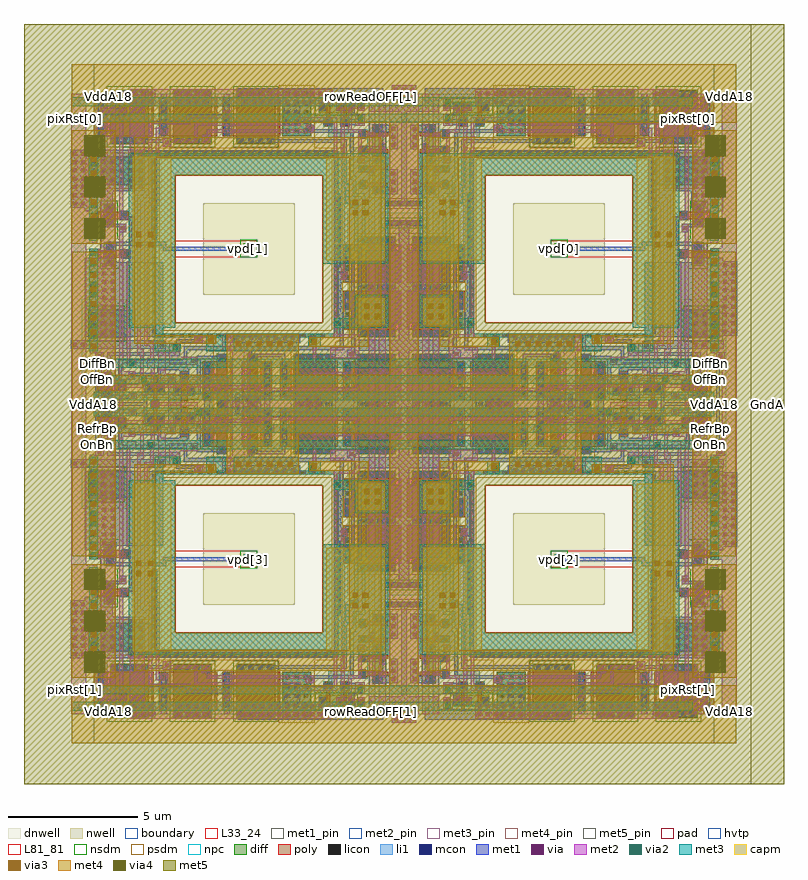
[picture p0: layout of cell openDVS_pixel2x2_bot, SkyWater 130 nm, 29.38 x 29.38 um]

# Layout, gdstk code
from math import pi, radians
import gdstk
lib = gdstk.Library(unit=1e-6, precision=1e-09)
def R(c, l, rs):  # rectangles x0, y0, x1, y1
    for r in rs: c.add(gdstk.rectangle(r[:2], r[2:], *l))
def A(c, l, x, y, w, h, nx, ny, dx, dy):  # array of equal rectangles
    R(c, l, [(x+i*dx, y+j*dy, x+i*dx+w, y+j*dy+h) for i in range(nx) for j in range(ny)])
L33_24 = (33, 24)
dnwell = (64, 18)
nwell = (64, 20)
diff = (65, 20)
poly = (66, 20)
licon = (66, 44)
li1 = (67, 20)
mcon = (67, 44)
met1_pin = (68, 16)
met1 = (68, 20)
via = (68, 44)
met2_pin = (69, 16)
met2 = (69, 20)
via2 = (69, 44)
met3_pin = (70, 16)
met3 = (70, 20)
via3 = (70, 44)
met4_pin = (71, 16)
met4 = (71, 20)
via4 = (71, 44)
met5_pin = (72, 16)
met5 = (72, 20)
pad = (76, 20)
hvtp = (78, 44)
L81_81 = (81, 81)
capm = (89, 44)
nsdm = (93, 44)
psdm = (94, 20)
npc = (95, 20)
boundary = (235, 4)

contact_30_1_1 = lib.new_cell('contact$30$1$1')
R(contact_30_1_1, met4, [(-0.59,-2.19,0.59,2.19)])
A(contact_30_1_1, via4, -0.4, -2, 0.8, 0.8, 1, 3, 0, 1.6)
R(contact_30_1_1, met5, [(-0.71,-2.31,0.71,2.31)])

contact_1 = lib.new_cell('contact$1')
R(contact_1, met1, [(-0.32,-1.12,0.32,1.12)])
A(contact_1, via, -0.235, -1.035, 0.15, 0.15, 1, 7, 0, 0.32)
A(contact_1, via, 0.085, -1.035, 0.15, 0.15, 1, 7, 0, 0.32)
R(contact_1, met2, [(-0.29,-1.12,0.29,1.12)])

contact_25_1_1 = lib.new_cell('contact$25$1$1')
R(contact_25_1_1, met1, [(-0.32,-1.44,0.32,1.44)])
A(contact_25_1_1, via, -0.235, -1.355, 0.15, 0.15, 1, 9, 0, 0.32)
A(contact_25_1_1, via, 0.085, -1.355, 0.15, 0.15, 1, 9, 0, 0.32)
R(contact_25_1_1, met2, [(-0.29,-1.44,0.29,1.44)])

contact_26_1_1 = lib.new_cell('contact$26$1$1')
R(contact_26_1_1, met1, [(-0.32,-0.155,0.32,0.16)])
R(contact_26_1_1, via, [(-0.235,-0.075,-0.085,0.075), (0.085,-0.075,0.235,0.075)])
R(contact_26_1_1, met2, [(-0.29,-0.16,0.29,0.16)])

opendvs_pixel = lib.new_cell('openDVS_pixel')
R(opendvs_pixel, L33_24, [(3.275,-9.01,5.83,-3.31), (5.83,-9.01,8.98,-6.46), (5.83,-5.86,8.975,-3.31)])
R(opendvs_pixel, dnwell, [(3.28,-9.01,8.98,-3.31)])
R(opendvs_pixel, nwell, [(0.06,-12.615,0.065,-9.905), (0.065,-12.615,2.295,-4.775), (2.295,-12.615,10.865,-9.905), (10.865,-12.615,12.585,-8.12), (4.36,-7.93,7.9,-4.39)])
A(opendvs_pixel, diff, 5.115, -2.11, 1.5, 2.1, 3, 1, 2.44, 0)
R(opendvs_pixel, diff, [(6.475,-12.545,6.645,-11.735), (0.445,-12.31,1.945,-10.21), (2.885,-12.31,4.385,-10.21), (5.775,-12.31,6.195,-10.21), (6.955,-12.31,7.375,-10.21), (11.4,-11.955,11.82,-10.935), (8.195,-11.845,9.045,-11.425), (9.375,-11.795,10.125,-11.295), (11.045,-9.62,12.33,-8.49), (2.63,-9.6,2.8,-2.38), (2.8,-9.6,9.7,-9.43), (9.7,-9.6,9.87,-2.38), (0.445,-9.58,1.945,-5.68), (11.245,-6.81,11.745,-5.91), (5.93,-6.355,6.34,-5.945), (11.325,-5.32,11.745,-4.42), (0.065,-5.25,0.875,-5.08), (0.065,-4.495,0.875,-4.325), (0.935,-4.055,1.355,-1.355), (9.87,-3.71,10.58,-2.38), (10.58,-3.71,12.335,-2.58), (2.8,-2.55,9.7,-2.38), (3.71,-1.805,4.84,0.045), (2.035,-0.895,3.435,-0.475)])
A(opendvs_pixel, poly, 0.735, -3.755, 0.82, 0.15, 1, 4, 0, 0.65)
R(opendvs_pixel, poly, [(9.615,-12.325,9.675,-11.995), (9.675,-12.325,9.825,-11.095), (9.825,-12.325,9.885,-11.995), (8.495,-12.045,8.745,-10.895), (0.245,-12.01,2.475,-10.51), (2.685,-12.01,4.915,-10.51), (5.245,-12.01,6.395,-10.51), (6.755,-12.01,7.905,-10.51), (10.865,-11.655,12.015,-11.235), (8.485,-11.225,8.495,-10.895), (8.745,-11.225,8.755,-10.895), (0.245,-9.28,2.475,-7.78), (0.245,-7.48,2.475,-5.98), (10.715,-6.51,11.945,-6.21), (10.795,-5.02,11.945,-4.72), (1.555,-3.815,1.885,-3.545), (1.555,-3.225,1.885,-2.955), (1.555,-2.455,1.885,-2.185), (1.555,-1.865,1.885,-1.595), (4.915,-1.81,7.145,-0.31), (7.355,-1.81,9.585,-0.31), (9.795,-1.81,11.695,-0.31), (11.695,-1.81,12.13,-0.16), (2.275,-1.425,2.335,-1.095), (2.335,-1.425,2.485,-0.275), (2.485,-1.425,2.545,-1.095), (2.925,-1.425,2.985,-1.095), (2.985,-1.425,3.135,-0.275), (3.135,-1.425,3.195,-1.095)])
A(opendvs_pixel, licon, 0.57, -12.245, 0.17, 0.17, 4, 2, 0.36, 1.8)
A(opendvs_pixel, licon, 3.01, -12.245, 0.17, 0.17, 4, 2, 0.36, 1.8)
A(opendvs_pixel, licon, 2.225, -11.885, 0.17, 0.17, 1, 4, 0, 0.36)
A(opendvs_pixel, licon, 4.665, -11.885, 0.17, 0.17, 1, 4, 0, 0.36)
A(opendvs_pixel, licon, 5.325, -11.885, 0.17, 0.17, 1, 4, 0, 0.36)
A(opendvs_pixel, licon, 7.655, -11.885, 0.17, 0.17, 1, 4, 0, 0.36)
A(opendvs_pixel, licon, 7.915, -9.6, 0.17, 0.17, 4, 1, 0.36, 0)
A(opendvs_pixel, licon, 0.57, -9.515, 0.17, 0.17, 4, 3, 0.36, 1.8)
A(opendvs_pixel, licon, 11.325, -9.5, 0.17, 0.17, 3, 3, 0.36, 0.36)
A(opendvs_pixel, licon, 2.225, -9.155, 0.17, 0.17, 1, 4, 0, 0.36)
A(opendvs_pixel, licon, 2.225, -7.355, 0.17, 0.17, 1, 4, 0, 0.36)
A(opendvs_pixel, licon, 9.7, -4.72, 0.17, 0.17, 1, 4, 0, 0.36)
A(opendvs_pixel, licon, 2.63, -4.44, 0.17, 0.17, 1, 4, 0, 0.36)
A(opendvs_pixel, licon, 1.06, -3.99, 0.17, 0.17, 1, 3, 0, 1.2)
A(opendvs_pixel, licon, 10.245, -3.59, 0.17, 0.17, 6, 3, 0.36, 0.36)
A(opendvs_pixel, licon, 3.075, -2.55, 0.17, 0.17, 19, 1, 0.36, 0)
A(opendvs_pixel, licon, 5.24, -2.045, 0.17, 0.17, 4, 2, 0.36, 1.8)
A(opendvs_pixel, licon, 7.68, -2.045, 0.17, 0.17, 4, 2, 0.36, 1.8)
A(opendvs_pixel, licon, 10.12, -2.045, 0.17, 0.17, 4, 2, 0.36, 1.8)
A(opendvs_pixel, licon, 3.83, -1.685, 0.17, 0.17, 3, 5, 0.36, 0.36)
A(opendvs_pixel, licon, 6.895, -1.685, 0.17, 0.17, 3, 4, 2.44, 0.36)
R(opendvs_pixel, licon, [(6.475,-12.425,6.645,-12.255), (5.9,-12.245,6.07,-12.075), (7.08,-12.245,7.25,-12.075), (9.665,-12.245,9.835,-12.075), (6.475,-12.065,6.645,-11.895), (11.52,-11.89,11.69,-11.72), (8.26,-11.72,8.43,-11.55), (8.81,-11.72,8.98,-11.55), (9.44,-11.63,9.61,-11.46), (9.89,-11.63,10.06,-11.46), (10.945,-11.52,11.115,-11.35), (11.52,-11.17,11.69,-11), (8.535,-11.145,8.705,-10.975), (5.9,-10.445,6.07,-10.275), (7.08,-10.445,7.25,-10.275), (3.2,-9.6,3.37,-9.43), (3.565,-9.6,3.735,-9.43), (3.925,-9.6,4.095,-9.43), (4.29,-9.6,4.46,-9.43), (4.65,-9.6,4.82,-9.43), (5.015,-9.6,5.185,-9.43), (5.375,-9.6,5.545,-9.43), (5.74,-9.6,5.91,-9.43), (6.1,-9.6,6.27,-9.43), (6.465,-9.6,6.635,-9.43), (6.825,-9.6,6.995,-9.43), (7.19,-9.6,7.36,-9.43), (7.55,-9.6,7.72,-9.43), (9.36,-9.6,9.53,-9.43), (9.7,-9.435,9.87,-9.265), (2.63,-9.155,2.8,-8.985), (9.7,-9.07,9.87,-8.9), (2.63,-8.79,2.8,-8.62), (9.7,-8.71,9.87,-8.54), (2.63,-8.43,2.8,-8.26), (9.7,-8.345,9.87,-8.175), (2.63,-8.065,2.8,-7.895), (9.7,-7.985,9.87,-7.815), (2.63,-7.705,2.8,-7.535), (9.7,-7.62,9.87,-7.45), (2.63,-7.34,2.8,-7.17), (9.7,-7.26,9.87,-7.09), (2.63,-6.98,2.8,-6.81), (9.7,-6.895,9.87,-6.725), (11.41,-6.745,11.58,-6.575), (2.63,-6.615,2.8,-6.445), (9.7,-6.535,9.87,-6.365), (10.795,-6.445,10.965,-6.275), (2.63,-6.255,2.8,-6.085), (6.05,-6.245,6.22,-6.075), (9.7,-6.17,9.87,-6), (11.41,-6.145,11.58,-5.975), (2.63,-5.89,2.8,-5.72), (9.7,-5.81,9.87,-5.64), (2.63,-5.53,2.8,-5.36), (9.7,-5.445,9.87,-5.275), (11.45,-5.255,11.62,-5.085), (0.225,-5.25,0.395,-5.08), (0.585,-5.25,0.755,-5.08), (2.63,-5.165,2.8,-4.995), (9.7,-5.085,9.87,-4.915), (10.875,-4.955,11.045,-4.785), (2.63,-4.805,2.8,-4.635), (11.45,-4.655,11.62,-4.485), (0.225,-4.495,0.395,-4.325), (0.585,-4.495,0.755,-4.325), (1.635,-3.765,1.805,-3.595), (9.7,-3.275,9.87,-3.105), (1.635,-3.175,1.805,-3.005), (2.63,-2.995,2.8,-2.825), (9.7,-2.915,9.87,-2.745), (1.635,-2.405,1.805,-2.235), (1.635,-1.815,1.805,-1.645), (2.325,-1.345,2.495,-1.175), (2.975,-1.345,3.145,-1.175), (2.1,-0.77,2.27,-0.6), (3.2,-0.77,3.37,-0.6)])
A(opendvs_pixel, li1, 0.49, -9.515, 1.41, 0.17, 1, 3, 0, 1.8)
A(opendvs_pixel, li1, 0.98, -3.99, 0.33, 0.17, 1, 3, 0, 1.2)
A(opendvs_pixel, li1, 5.16, -2.045, 1.41, 0.17, 3, 2, 2.44, 1.8)
A(opendvs_pixel, li1, 6.895, -1.765, 0.17, 1.41, 3, 1, 2.44, 0)
R(opendvs_pixel, li1, [(6.475,-12.565,6.645,-11.755), (0.49,-12.245,1.9,-12.075), (2.93,-12.245,4.34,-12.075), (5.82,-12.245,6.15,-12.075), (7,-12.245,7.33,-12.075), (9.585,-12.245,9.915,-12.075), (2.225,-11.965,2.395,-10.555), (4.665,-11.965,4.835,-10.555), (5.325,-11.965,5.495,-10.555), (7.655,-11.965,7.825,-10.555), (11.44,-11.89,11.77,-11.72), (8.26,-11.8,8.43,-11.47), (8.81,-11.8,8.98,-11.47), (9.44,-11.71,9.61,-11.38), (9.89,-11.71,10.06,-11.38), (10.945,-11.6,11.115,-11.27), (11.44,-11.17,11.77,-11), (8.455,-11.145,8.785,-10.975), (0.49,-10.445,1.9,-10.275), (2.93,-10.445,4.34,-10.275), (5.82,-10.445,6.15,-10.275), (7,-10.445,7.33,-10.275), (2.63,-9.6,2.8,-2.38), (2.8,-9.6,9.7,-9.43), (9.7,-9.6,9.87,-2.38), (10.52,-9.58,12.29,-8.53), (2.225,-9.235,2.395,-7.825), (2.225,-7.435,2.395,-6.025), (11.33,-6.745,11.66,-6.575), (10.795,-6.525,10.965,-6.195), (5.97,-6.325,6.3,-5.995), (11.33,-6.145,11.66,-5.975), (11.37,-5.255,11.7,-5.085), (0.065,-5.25,0.875,-5.08), (10.875,-5.035,11.045,-4.705), (11.37,-4.655,11.7,-4.485), (1.885,-4.595,2.055,-3.675), (2.055,-4.595,2.215,-4.265), (0.065,-4.495,0.875,-4.325), (1.635,-3.845,1.805,-3.515), (1.805,-3.845,1.885,-3.675), (9.87,-3.67,10.58,-2.38), (10.58,-3.67,12.295,-2.62), (1.555,-3.175,1.885,-3.005), (2.8,-2.55,9.7,-2.38), (1.805,-2.41,1.885,-2.235), (1.885,-2.41,2.085,-2.24), (2.085,-2.41,2.255,-1.675), (1.555,-2.405,1.805,-2.235), (1.635,-1.895,1.805,-1.565), (2.255,-1.845,2.895,-1.675), (2.895,-1.845,3.065,-1.175), (3.75,-1.765,4.8,0.005), (4.8,-1.405,4.805,0.005), (2.245,-1.345,2.575,-1.175), (3.065,-1.345,3.225,-1.175), (2.1,-0.85,2.27,-0.52), (3.2,-0.85,3.37,-0.52)])
A(opendvs_pixel, mcon, 3.295, -12.245, 0.17, 0.17, 3, 2, 0.36, 1.8)
A(opendvs_pixel, mcon, 5.325, -11.885, 0.17, 0.17, 1, 4, 0, 0.36)
A(opendvs_pixel, mcon, 7.655, -11.885, 0.17, 0.17, 1, 4, 0, 0.36)
A(opendvs_pixel, mcon, 0.735, -10.445, 0.17, 0.17, 3, 2, 0.36, 0.93)
A(opendvs_pixel, mcon, 11.325, -9.5, 0.17, 0.17, 3, 3, 0.36, 0.36)
A(opendvs_pixel, mcon, 0.635, -7.715, 0.17, 0.17, 3, 2, 0.36, 1.8)
A(opendvs_pixel, mcon, 2.63, -5.805, 0.17, 0.17, 1, 3, 0, 0.36)
A(opendvs_pixel, mcon, 9.7, -4.72, 0.17, 0.17, 1, 4, 0, 0.36)
A(opendvs_pixel, mcon, 1.06, -3.99, 0.17, 0.17, 1, 3, 0, 1.2)
A(opendvs_pixel, mcon, 10.245, -3.59, 0.17, 0.17, 6, 3, 0.36, 0.36)
A(opendvs_pixel, mcon, 3.075, -2.55, 0.17, 0.17, 19, 1, 0.36, 0)
A(opendvs_pixel, mcon, 5.24, -2.045, 0.17, 0.17, 4, 2, 0.36, 1.8)
A(opendvs_pixel, mcon, 7.68, -2.045, 0.17, 0.17, 4, 2, 0.36, 1.8)
A(opendvs_pixel, mcon, 10.12, -2.045, 0.17, 0.17, 4, 2, 0.36, 1.8)
A(opendvs_pixel, mcon, 6.895, -1.685, 0.17, 0.17, 3, 4, 2.44, 0.36)
A(opendvs_pixel, mcon, 4.195, -1.325, 0.17, 0.17, 1, 4, 0, 0.36)
A(opendvs_pixel, mcon, 4.555, -1.325, 0.17, 0.17, 1, 4, 0, 0.36)
R(opendvs_pixel, mcon, [(6.475,-12.425,6.645,-12.255), (1.095,-12.245,1.265,-12.075), (1.455,-12.245,1.625,-12.075), (5.9,-12.245,6.07,-12.075), (7.08,-12.245,7.25,-12.075), (9.665,-12.245,9.835,-12.075), (6.475,-12.065,6.645,-11.895), (11.52,-11.89,11.69,-11.72), (8.26,-11.72,8.43,-11.55), (8.81,-11.72,8.98,-11.55), (9.44,-11.63,9.61,-11.46), (9.89,-11.63,10.06,-11.46), (10.945,-11.52,11.115,-11.35), (11.52,-11.17,11.69,-11), (2.225,-11.165,2.395,-10.995), (4.665,-11.165,4.835,-10.995), (8.535,-11.145,8.705,-10.975), (2.225,-10.805,2.395,-10.635), (4.665,-10.805,4.835,-10.635), (5.9,-10.445,6.07,-10.275), (7.08,-10.445,7.25,-10.275), (2.225,-8.435,2.395,-8.265), (2.225,-8.075,2.395,-7.905), (11.41,-6.745,11.58,-6.575), (2.225,-6.635,2.395,-6.465), (2.63,-6.53,2.8,-6.36), (10.795,-6.445,10.965,-6.275), (2.225,-6.275,2.395,-6.105), (6.05,-6.245,6.22,-6.075), (2.63,-6.17,2.8,-6), (11.41,-6.145,11.58,-5.975), (9.7,-5.445,9.87,-5.275), (11.45,-5.255,11.62,-5.085), (0.225,-5.25,0.395,-5.08), (0.585,-5.25,0.755,-5.08), (9.7,-5.085,9.87,-4.915), (10.875,-4.955,11.045,-4.785), (2.63,-4.72,2.8,-4.55), (11.45,-4.655,11.62,-4.485), (1.965,-4.515,2.135,-4.345), (0.225,-4.495,0.395,-4.325), (0.585,-4.495,0.755,-4.325), (2.63,-4.36,2.8,-4.19), (1.635,-3.765,1.805,-3.595), (9.7,-3.275,9.87,-3.105), (1.635,-3.175,1.805,-3.005), (9.7,-2.915,9.87,-2.745), (1.635,-2.405,1.805,-2.235), (1.635,-1.815,1.805,-1.645), (2.325,-1.345,2.495,-1.175), (2.975,-1.345,3.145,-1.175), (2.1,-0.77,2.27,-0.6), (3.2,-0.77,3.37,-0.6)])
A(opendvs_pixel, met1, 6.865, -1.745, 0.23, 1.585, 3, 1, 2.44, 0)
R(opendvs_pixel, met1, [(6.445,-12.53,6.675,-11.79), (3.35,-12.48,3.99,-10.245), (5.665,-12.48,6.445,-11.84), (9.635,-12.345,9.865,-11.975), (6.675,-12.305,7.31,-12.015), (-0.08,-12.275,0.34,-5.05), (0.34,-12.275,1.915,-10.76), (1.915,-12.275,2.795,-11.505), (2.795,-12.275,3.35,-10.245), (3.99,-12.275,4.33,-10.245), (10.05,-12.23,10.19,-11.4), (10.19,-12.23,12.245,-12.09), (5.295,-12.16,5.525,-10.575), (7.625,-12.16,7.855,-10.575), (8.75,-12.16,8.945,-11.49), (8.945,-12.16,9.24,-11), (10.455,-11.95,10.775,-11.69), (10.775,-11.95,11.46,-11.81), (11.46,-11.95,11.75,-11.66), (7.995,-11.78,8.135,-10.295), (8.135,-11.78,8.49,-11.49), (7.195,-11.76,7.455,-11.44), (9.38,-11.69,9.53,-11.4), (9.53,-11.69,9.67,-10.72), (9.83,-11.69,10.05,-11.4), (5.665,-11.67,5.925,-11.35), (11.035,-11.63,11.175,-10.44), (10.915,-11.62,11.035,-11.25), (5.925,-11.58,7.195,-11.44), (9.24,-11.26,9.265,-11), (11.46,-11.23,11.6,-10.16), (11.6,-11.23,11.75,-10.94), (2.195,-11.225,2.425,-10.575), (2.425,-11.225,2.515,-10.905), (4.635,-11.225,4.725,-10.575), (4.725,-11.225,4.865,-10.215), (10.515,-11.215,10.775,-10.895), (8.435,-11.175,8.51,-10.79), (8.51,-11.175,8.805,-10.72), (9.67,-11.095,10.515,-10.955), (8.805,-10.86,9.53,-10.72), (8.135,-10.645,8.37,-10.325), (8.51,-10.58,8.65,-9.935), (8.65,-10.58,11.035,-10.44), (5.84,-10.505,5.99,-10.215), (5.99,-10.505,6.13,-9.935), (7.02,-10.505,7.31,-10.215), (0.48,-10.48,1.875,-10.245), (7.31,-10.435,7.995,-10.295), (1.875,-10.385,2.005,-10.245), (2.005,-10.385,2.035,-10.065), (2.035,-10.385,2.175,-6.555), (2.175,-10.385,2.325,-10.065), (4.865,-10.355,5.84,-10.215), (8.79,-10.3,8.93,-9.655), (8.93,-10.3,11.46,-10.16), (0.34,-10.105,1.865,-9.685), (2.465,-10.075,2.565,-8.635), (2.565,-10.075,2.605,-7.04), (2.605,-10.075,5.99,-9.935), (6.13,-10.075,8.51,-9.935), (9.34,-10.02,9.39,-9.76), (9.39,-10.02,12.485,-9.705), (4.135,-9.795,7.15,-9.465), (7.905,-9.795,8.225,-9.535), (8.225,-9.795,8.79,-9.655), (9.44,-9.565,11.35,-6.685), (11.35,-9.565,12.48,-6.515), (0.48,-9.545,1.755,-9.315), (1.755,-9.545,1.895,-6.1), (0.34,-9.035,1.615,-6.22), (2.605,-8.79,2.705,-7.04), (2.175,-8.495,2.425,-7.845), (2.315,-7.365,2.565,-7.04), (2.6,-6.865,2.69,-4.03), (2.69,-6.865,2.83,-2.35), (2.175,-6.695,2.195,-6.555), (2.195,-6.695,2.425,-6.045), (10.765,-6.545,10.995,-6.175), (10.995,-6.495,11.13,-6.175), (5.99,-6.305,6.28,-6.015), (1.895,-6.24,1.905,-6.1), (1.905,-6.24,2.045,-4.285), (6.28,-6.23,9.32,-6.09), (9.32,-6.23,9.46,-5.895), (11.35,-6.205,11.64,-5.895), (9.46,-6.035,10.53,-5.895), (10.53,-6.035,10.67,-4.915), (10.67,-6.035,11.35,-5.895), (0.48,-5.945,1.625,-5.715), (1.625,-5.945,1.765,-4.005), (9.67,-5.755,9.9,-2.35), (10.87,-5.515,11.13,-5.195), (11.13,-5.335,11.39,-5.195), (11.39,-5.335,11.68,-5.025), (0.34,-5.28,0.855,-5.05), (10.67,-5.055,10.845,-4.915), (10.845,-5.055,11.075,-4.685), (11.39,-4.715,12.48,-2.33), (2.045,-4.575,2.195,-4.285), (0.02,-4.525,0.24,-0.62), (0.24,-4.525,0.84,-4.295), (2.195,-4.425,2.255,-4.285), (2.255,-4.425,2.35,-3.625), (2.35,-4.425,2.395,-1.93), (1.765,-4.145,1.975,-4.005), (1.975,-4.145,2.07,-3.345), (2.07,-4.145,2.115,-1.54), (0.38,-4.05,0.7,-3.09), (0.7,-4.05,1.29,-3.76), (10.15,-3.93,11.39,-2.33), (1.605,-3.865,1.835,-3.495), (2.395,-3.765,2.49,-1.93), (2.115,-3.485,2.21,-1.54), (1.24,-3.31,1.5,-2.99), (1.5,-3.205,1.905,-2.975), (1,-2.85,1.29,-2.56), (1.605,-2.835,1.93,-2.575), (1.29,-2.775,1.605,-2.635), (2.83,-2.58,9.67,-2.35), (9.9,-2.58,10.15,-2.35), (1.535,-2.435,1.605,-2.195), (1.605,-2.435,1.905,-2.205), (0.84,-2.42,1.1,-2.1), (1.1,-2.42,1.535,-2.195), (0.38,-2.32,0.7,-1.36), (9.13,-2.21,9.45,-1.89), (5.18,-2.075,6.55,-1.845), (7.62,-2.075,7.94,-1.755), (7.94,-2.075,8.99,-1.845), (10.06,-2.075,11.43,-1.845), (2.49,-2.07,5.18,-1.93), (9.45,-2.06,10.06,-1.92), (1.605,-1.915,1.835,-1.54), (1.835,-1.68,2.07,-1.54), (2.21,-1.68,3.6,-1.54), (3.6,-1.68,3.92,-1.36), (0.7,-1.65,1.29,-1.36), (1.64,-1.4,1.965,-1.13), (4.135,-1.385,4.785,0.045), (1.965,-1.375,2.595,-1.145), (2.875,-1.375,3.245,-1.145), (2.04,-0.985,2.29,-0.54), (0.24,-0.855,0.94,-0.62), (0.94,-0.855,1.48,0.045), (2.29,-0.83,2.75,-0.54), (3.14,-0.83,3.43,0.045), (1.64,-0.825,1.9,-0.505), (2.89,-0.64,3.14,0.045), (3.43,-0.64,4.135,0.045), (4.785,-0.64,6.41,0.045), (7.67,-0.64,8.95,0), (9.74,-0.64,10.7,0), (-0.35,-0.48,0.61,0.16), (1.48,-0.365,2.89,0.045), (6.41,-0.275,6.55,0.045), (7.62,-0.275,7.67,-0.045), (8.95,-0.275,8.99,-0.045), (10.7,-0.275,11.43,-0.045)])
A(opendvs_pixel, via, 4.355, -9.67, 0.15, 0.15, 9, 1, 0.32, 0)
A(opendvs_pixel, via, 0.465, -3.965, 0.15, 0.15, 1, 3, 0, 0.32)
A(opendvs_pixel, via, 10.235, -3.845, 0.15, 0.15, 1, 5, 0, 0.32)
A(opendvs_pixel, via, 10.555, -3.845, 0.15, 0.15, 1, 5, 0, 0.32)
A(opendvs_pixel, via, 0.465, -2.235, 0.15, 0.15, 1, 3, 0, 0.32)
A(opendvs_pixel, via, 2.975, -0.555, 0.15, 0.15, 11, 2, 0.32, 0.32)
A(opendvs_pixel, via, 7.755, -0.555, 0.15, 0.15, 4, 2, 0.32, 0.32)
A(opendvs_pixel, via, 9.825, -0.555, 0.15, 0.15, 3, 2, 0.32, 0.32)
A(opendvs_pixel, via, -0.265, -0.395, 0.15, 0.15, 3, 2, 0.32, 0.32)
R(opendvs_pixel, via, [(3.435,-12.395,3.585,-12.245), (3.755,-12.395,3.905,-12.245), (5.75,-12.395,5.9,-12.245), (6.07,-12.395,6.22,-12.245), (3.435,-12.075,3.585,-11.925), (3.755,-12.075,3.905,-11.925), (5.75,-12.075,5.9,-11.925), (6.07,-12.075,6.22,-11.925), (10.54,-11.895,10.69,-11.745), (7.25,-11.675,7.4,-11.525), (5.72,-11.585,5.87,-11.435), (9.03,-11.205,9.18,-11.055), (2.28,-11.14,2.43,-10.99), (10.57,-11.13,10.72,-10.98), (8.165,-10.56,8.315,-10.41), (2.09,-10.3,2.24,-10.15), (9.425,-9.965,9.575,-9.815), (7.99,-9.74,8.14,-9.59), (2.37,-7.28,2.52,-7.13), (10.925,-6.41,11.075,-6.26), (10.925,-5.43,11.075,-5.28), (1.295,-3.225,1.445,-3.075), (1.695,-2.78,1.845,-2.63), (0.895,-2.335,1.045,-2.185), (9.215,-2.125,9.365,-1.975), (7.705,-1.99,7.855,-1.84), (3.685,-1.595,3.835,-1.445), (1.725,-1.335,1.875,-1.185), (2.515,-0.745,2.665,-0.595), (1.695,-0.74,1.845,-0.59)])
R(opendvs_pixel, met2, [(3.35,-12.48,6.065,-11.84), (6.065,-12.48,6.775,-9.465), (-0.44,-12.16,-0.35,-0.16), (-0.35,-12.16,0.61,0.16), (0.61,-12.16,0.7,-0.16), (0.84,-12.16,1.1,-0.16), (1.24,-12.16,1.5,-0.16), (6.915,-12.16,7.055,-11.1), (10.99,-12.16,11.13,-11.4), (11.27,-12.16,11.85,-0.16), (12.41,-12.16,12.99,-0.16), (10.455,-11.95,10.775,-11.69), (8.385,-11.83,8.525,-11.38), (8.525,-11.83,10.455,-11.69), (7.195,-11.76,7.455,-11.38), (1.865,-11.67,2.005,-9.465), (2.005,-11.67,5.665,-11.53), (5.665,-11.67,5.925,-11.35), (8.665,-11.54,8.805,-11.1), (8.805,-11.54,9.775,-11.4), (9.775,-11.54,9.8,-10.4), (9.8,-11.54,9.915,-9.76), (10.195,-11.54,10.31,-10.045), (10.31,-11.54,10.335,-4.07), (10.335,-11.54,10.375,-11.03), (10.375,-11.54,10.99,-11.4), (7.455,-11.52,8.385,-11.38), (10.095,-11.4,10.195,-11.03), (8.945,-11.26,9.34,-11), (9.34,-11.26,9.635,-9.76), (7.055,-11.24,8.665,-11.1), (2.195,-11.225,2.515,-10.905), (10.515,-11.215,10.99,-10.895), (10.99,-11.215,11.13,-5.195), (2.515,-11.045,3.52,-10.905), (3.52,-11.045,3.66,-9.515), (9.915,-10.77,9.94,-9.76), (9.94,-10.77,10.055,-10.4), (10.475,-10.725,10.71,-10.44), (10.71,-10.725,10.73,-4.91), (10.73,-10.725,10.85,-6.635), (8.11,-10.645,8.775,-10.325), (8.775,-10.645,9.2,-9.79), (2.005,-10.385,2.99,-9.96), (10.335,-10.23,10.45,-4.07), (11.99,-10.19,12.27,-6.15), (4.195,-10.12,6.065,-9.465), (6.775,-10.12,7.15,-9.465), (9.635,-10.02,9.66,-9.76), (9.94,-9.9,10.03,-9.76), (10.03,-9.9,10.17,-4.35), (3.66,-9.885,3.8,-9.515), (7.41,-9.805,8.24,-9.525), (2.005,-9.605,2.715,-9.465), (2.715,-9.605,2.855,-1.08), (2.485,-9.22,2.715,-8.85), (2.315,-7.365,2.43,-7.04), (2.43,-7.365,2.57,-0.54), (2.57,-7.365,2.575,-7.04), (10.59,-6.775,10.71,-4.91), (10.87,-6.495,10.99,-6.175), (11.99,-5.94,12.27,-1.86), (10.87,-5.515,10.99,-5.195), (10.73,-5.05,10.99,-4.91), (10.99,-5.05,11.13,-0.16), (9.59,-4.49,9.73,-1.49), (9.73,-4.49,10.03,-4.35), (9.87,-4.21,10.01,-1.21), (10.01,-4.21,10.31,-4.07), (10.15,-3.93,10.73,0), (10.73,-3.93,10.79,-2.33), (1.64,-2.865,1.76,-2.54), (1.76,-2.865,1.9,-1.54), (9.13,-2.21,9.45,-1.89), (7.62,-2.075,7.76,-1.54), (7.76,-2.075,7.94,-1.755), (8.095,-2.06,8.235,-1.26), (8.235,-2.06,9.13,-1.92), (1.9,-1.68,2.15,-1.54), (2.15,-1.68,2.29,-0.615), (3.6,-1.68,3.92,-1.36), (3.92,-1.68,7.62,-1.54), (9.305,-1.63,9.59,-1.49), (1.64,-1.4,2.01,-0.965), (4.13,-1.4,4.27,-1.08), (4.27,-1.4,8.095,-1.26), (8.4,-1.35,8.54,-0.98), (8.54,-1.35,9.87,-1.21), (2.855,-1.22,4.13,-1.08), (6.96,-1.12,8.4,-0.98), (1.64,-0.825,1.925,-0.335), (2.57,-0.81,2.75,-0.54), (1.925,-0.755,2.01,-0.335), (2.01,-0.755,2.15,-0.615), (2.89,-0.64,10.15,0)])
A(opendvs_pixel, via2, 12.03, -10.035, 0.2, 0.2, 1, 10, 0, 0.4)
A(opendvs_pixel, via2, 4.43, -9.925, 0.2, 0.2, 6, 1, 0.4, 0)
A(opendvs_pixel, via2, 12.03, -5.765, 0.2, 0.2, 1, 10, 0, 0.4)
R(opendvs_pixel, via2, [(8.86,-10.055,9.06,-9.855), (3.56,-9.8,3.76,-9.6), (7.495,-9.765,7.695,-9.565), (2.57,-9.135,2.77,-8.935), (1.725,-1.205,1.925,-1.005), (1.725,-0.575,1.925,-0.375)])
A(opendvs_pixel, met3, 0.13, -13.9, 12, 0.33, 1, 6, 0, 0.63)
R(opendvs_pixel, met3, [(4.195,-10.12,6.715,-9.465), (7.015,-10.12,7.78,-9.5), (8.77,-10.12,9.44,-9.79), (9.44,-10.12,9.77,-2.47), (11.965,-10.12,12.295,-6.15), (3.345,-9.955,3.835,-9.465), (0.73,-9.22,2.01,-7.94), (2.01,-9.22,2.855,-8.85), (8.98,-9.22,9.44,-2.47), (9.77,-9.22,10.765,-2.47), (0.73,-6.735,3.28,-2.47), (11.965,-5.85,12.295,-1.88), (3.28,-3.31,8.98,-2.47), (0.13,-1.27,11.27,-0.94), (0.13,-0.64,11.27,-0.31)])
A(opendvs_pixel, via3, 12.03, -10.03, 0.2, 0.2, 1, 7, 0, 0.55)
A(opendvs_pixel, via3, 4.43, -9.925, 0.2, 0.2, 6, 1, 0.4, 0)
A(opendvs_pixel, via3, 12.03, -5.55, 0.2, 0.2, 1, 7, 0, 0.55)
R(opendvs_pixel, via3, [(3.505,-9.865,3.705,-9.665), (7.49,-9.765,7.69,-9.565), (1.07,-8.88,1.27,-8.68), (1.47,-8.88,1.67,-8.68), (1.07,-8.48,1.27,-8.28), (1.47,-8.48,1.67,-8.28), (9.82,-6.105,10.02,-5.905), (10.285,-6.105,10.485,-5.905), (9.82,-5.705,10.02,-5.505), (10.285,-5.705,10.485,-5.505), (1.52,-4.865,1.72,-4.665), (1.92,-4.865,2.12,-4.665), (1.52,-4.465,1.72,-4.265), (1.92,-4.465,2.12,-4.265)])
R(opendvs_pixel, met4, [(-0.42,-13.285,0.68,0.7), (0.68,-13.285,4.195,-11.035), (4.195,-13.285,6.985,-9.465), (6.985,-13.285,11.3,-11.035), (11.3,-13.285,12.96,-6.265), (1.515,-9.955,2.245,-1.855), (2.245,-9.955,3.795,-9.575), (7.385,-9.83,9.755,-9.5), (9.755,-9.83,10.55,-1.855), (1.005,-9.165,1.515,-1.855), (11.29,-5.965,12.97,-1.585), (2.245,-5.87,2.255,-5.14), (2.245,-2.64,9.755,-1.855), (0.68,-1.285,12.97,0.7)])
R(opendvs_pixel, met5, [(-2.56,-14.855,3.28,2.53), (3.28,-14.855,8.98,-9.01), (8.98,-14.855,14.82,2.53), (3.28,-3.31,8.98,2.53)])
R(opendvs_pixel, pad, [(3.28,-9.01,8.98,-3.31)])
R(opendvs_pixel, hvtp, [(6.775,-12.19,7.555,-10.33), (11.22,-11.835,12,-11.055)])
R(opendvs_pixel, L81_81, [(3.28,-9.01,8.98,-3.31)])
R(opendvs_pixel, capm, [(0.87,-9.08,1.87,-8.08), (9.12,-9.08,10.625,-2.61), (0.87,-6.595,3.14,-2.61)])
A(opendvs_pixel, nsdm, 4.99, -2.235, 1.75, 2.35, 3, 1, 2.44, 0)
R(opendvs_pixel, nsdm, [(6.35,-12.67,6.77,-11.61), (10.92,-9.745,12.455,-8.365), (11.12,-6.935,11.2,-5.785), (11.2,-6.935,11.87,-4.295), (5.805,-6.48,6.465,-5.82), (-0.06,-5.375,1,-4.955), (0.81,-4.18,1.48,-1.23), (1.91,-1.02,3.56,-0.35)])
R(opendvs_pixel, psdm, [(0.32,-12.435,2.07,-10.085), (2.76,-12.435,2.925,-2.255), (2.925,-12.435,4.51,-9.305), (5.65,-12.435,6.32,-9.305), (6.83,-12.435,7.5,-9.305), (11.275,-12.08,11.945,-10.81), (8.07,-11.97,9.17,-11.3), (9.17,-11.92,9.25,-11.3), (9.25,-11.92,10.25,-11.17), (2.505,-9.725,2.76,-2.255), (4.51,-9.725,5.65,-9.305), (6.32,-9.725,6.83,-9.305), (7.5,-9.725,9.575,-9.305), (9.575,-9.725,9.995,-2.255), (0.32,-9.705,2.07,-5.555), (-0.06,-4.62,1,-4.2), (9.995,-3.835,10.705,-2.255), (10.705,-3.835,12.46,-2.455), (2.925,-2.675,3.585,-2.255), (3.585,-2.675,4.965,0.17), (4.965,-2.675,9.575,-2.255)])
A(opendvs_pixel, npc, 6.795, -1.785, 0.37, 1.45, 3, 1, 2.44, 0)
R(opendvs_pixel, npc, [(9.565,-12.345,9.935,-11.975), (2.125,-11.985,2.495,-10.535), (4.565,-11.985,4.935,-10.535), (5.225,-11.985,5.595,-10.535), (7.555,-11.985,7.925,-10.535), (10.845,-11.62,11.215,-11.25), (8.435,-11.245,8.805,-10.875), (2.125,-9.255,2.495,-7.805), (2.125,-7.455,2.495,-6.005), (10.695,-6.545,11.065,-6.175), (10.775,-5.055,11.145,-4.685), (1.535,-3.865,1.905,-2.905), (1.535,-2.505,1.905,-1.545), (2.225,-1.445,2.595,-1.075), (2.875,-1.445,3.245,-1.075)])
R(opendvs_pixel, boundary, [(0.725,-10.51,0.73,-10.445)])
opendvs_pixel.add(gdstk.Label('nRst', (4.75,-10.43), layer=68, texttype=5))
opendvs_pixel.add(gdstk.Label('PrSFBp', (7.85,-11.7), layer=68, texttype=5))
opendvs_pixel.add(gdstk.Label('nRst', (6.13,-10.22), layer=68, texttype=5))
opendvs_pixel.add(gdstk.Label('vdiff', (2.325,-8.005), layer=68, texttype=5))
opendvs_pixel.add(gdstk.Label('GndA', (6.36,-0.275), layer=68, texttype=5))
opendvs_pixel.add(gdstk.Label('DiffBn', (11.975,-1.015), layer=68, texttype=5))
opendvs_pixel.add(gdstk.Label('OnBn', (9.535,-1.015), layer=68, texttype=5))
opendvs_pixel.add(gdstk.Label('OffBn', (7.095,-1.015), layer=68, texttype=5))
opendvs_pixel.add(gdstk.Label('rowReadON', (3.245,-1.365), layer=68, texttype=5))
opendvs_pixel.add(gdstk.Label('nRst', (2.05,-0.815), layer=68, texttype=5))
opendvs_pixel.add(gdstk.Label('RefrBp', (5.525,-11.7), layer=68, texttype=5))
opendvs_pixel.add(gdstk.Label('OffBn', (7.095,-0.345), layer=68, texttype=5))
opendvs_pixel.add(gdstk.Label('vdiff', (1.865,-10.255), layer=68, texttype=5))
opendvs_pixel.add(gdstk.Label('ON', (1.615,-5.895), layer=68, texttype=5))
opendvs_pixel.add(gdstk.Label('vpr', (11.09,-5.195), layer=68, texttype=5))
opendvs_pixel.add(gdstk.Label('vd', (2.41,-11.22), layer=68, texttype=5))
opendvs_pixel.add(gdstk.Label('VddA18', (4.305,-10.43), layer=68, texttype=5))
opendvs_pixel.add(gdstk.Label('VddA18', (11.63,-6.595), layer=68, texttype=5))
opendvs_pixel.add(gdstk.Label('VddA18', (1.615,-7.715), layer=68, texttype=5))
opendvs_pixel.add(gdstk.Label('VddA18', (1.875,-12.075), layer=68, texttype=5))
opendvs_pixel.add(gdstk.Label('GndA', (11.63,-4.445), layer=68, texttype=5))
opendvs_pixel.add(gdstk.Label('GndA', (10.955,-0.275), layer=68, texttype=5))
opendvs_pixel.add(gdstk.Label('GndA', (8.905,-0.275), layer=68, texttype=5))
opendvs_pixel.add(gdstk.Label('GndA', (3.43,-0.815), layer=68, texttype=5))
opendvs_pixel.add(gdstk.Label('GndA', (9.035,-12.16), layer=68, texttype=5))
opendvs_pixel.add(gdstk.Label('vsf', (7.31,-10.215), layer=68, texttype=5))
opendvs_pixel.add(gdstk.Label('nOFF', (1.87,-9.515), layer=68, texttype=5))
opendvs_pixel.add(gdstk.Label('pixRst', (1.97,-1.355), layer=68, texttype=5))
opendvs_pixel.add(gdstk.Label('rowReadON', (1.825,-2.21), layer=68, texttype=5))
opendvs_pixel.add(gdstk.Label('rowReadOFF', (1.825,-2.985), layer=68, texttype=5))
opendvs_pixel.add(gdstk.Label('readLine', (1.28,-2.56), layer=68, texttype=5))
opendvs_pixel.add(gdstk.Label('PrBp', (9.865,-12.345), layer=68, texttype=5))
opendvs_pixel.add(gdstk.Label('VddA18', (7.31,-12.035), layer=68, texttype=5))
opendvs_pixel.add(gdstk.Label('vd', (11.5,-11.125), layer=68, texttype=5))
opendvs_pixel.add(gdstk.Label('nRst', (11.175,-11.425), layer=68, texttype=5))
opendvs_pixel.add(gdstk.Label('vdiff', (11.5,-11.95), layer=68, texttype=5))
opendvs_pixel.add(gdstk.Label('VddA18', (10.105,-11.575), layer=68, texttype=5))
opendvs_pixel.add(gdstk.Label('vpr', (9.675,-11.09), layer=68, texttype=5))
opendvs_pixel.add(gdstk.Label('GndD', (1.19,-4.04), layer=68, texttype=5))
opendvs_pixel.add(gdstk.Label('GndA', (0.79,-4.405), layer=68, texttype=5))
opendvs_pixel.add(gdstk.Label('vpd', (10.475,-5.9), layer=68, texttype=5))
opendvs_pixel.add(gdstk.Label('vpd', (6.02,-6.275), layer=68, texttype=5))

opendvs_pixel2x2_bot = lib.new_cell('openDVS_pixel2x2_bot')
R(opendvs_pixel2x2_bot, met1_pin, [(-6.33,-0.23,-6.04,0.06), (5.68,-0.23,5.97,0.06), (-6.33,11.77,-6.04,12.06), (5.68,11.77,5.97,12.06)])
R(opendvs_pixel2x2_bot, met1, [(-11.795,-5.525,-10.89,-5.265), (10.53,-5.525,11.435,-5.265), (-7.16,-5.445,-6.9,-5.125), (6.54,-5.445,6.8,-5.125), (-9.64,-4.755,-9.32,-4.495), (8.96,-4.755,9.28,-4.495), (-6.33,-0.23,-6.04,0.06), (5.68,-0.23,5.97,0.06), (11.89,3.915,12.03,7.915), (12.03,3.915,12.21,4.555), (-12.11,4.555,-11.97,7.275), (-5.575,4.815,-5.205,5.135), (4.845,4.815,5.215,5.135), (-9.96,5.785,-9.64,6.045), (9.28,5.785,9.6,6.045), (-7.905,6.065,-7.645,6.385), (7.285,6.065,7.545,6.385), (12.03,7.275,12.21,7.915), (-6.33,11.77,-6.04,12.06), (5.68,11.77,5.97,12.06), (-9.64,16.325,-9.32,16.585), (8.96,16.325,9.28,16.585), (-7.16,16.955,-6.9,17.275), (6.54,16.955,6.8,17.275), (-11.795,17.085,-10.89,17.345), (10.53,17.085,11.435,17.345)])
R(opendvs_pixel2x2_bot, via, [(-11.125,-5.47,-10.975,-5.32), (10.615,-5.47,10.765,-5.32), (-7.105,-5.36,-6.955,-5.21), (6.595,-5.36,6.745,-5.21), (-9.555,-4.7,-9.405,-4.55), (9.045,-4.7,9.195,-4.55), (11.975,4,12.125,4.15), (11.975,4.32,12.125,4.47), (-5.46,4.9,-5.31,5.05), (4.96,4.9,5.11,5.05), (-9.875,5.84,-9.725,5.99), (9.365,5.84,9.515,5.99), (-7.85,6.15,-7.7,6.3), (7.34,6.15,7.49,6.3), (11.975,7.36,12.125,7.51), (11.975,7.68,12.125,7.83), (-9.555,16.38,-9.405,16.53), (9.045,16.38,9.195,16.53), (-7.105,17.04,-6.955,17.19), (6.595,17.04,6.745,17.19), (-11.125,17.14,-10.975,17.29), (10.615,17.14,10.765,17.29)])
R(opendvs_pixel2x2_bot, met2_pin, [(-13.04,-6.085,-12.46,-5.825), (-11.9,-6.085,-11.32,-5.825), (-1.55,-6.085,-1.29,-5.825), (-1.15,-6.085,-0.89,-5.825), (-0.75,-6.085,0.39,-5.825), (0.53,-6.085,0.79,-5.825), (0.93,-6.085,1.19,-5.825), (10.96,-6.085,11.54,-5.825), (12.1,-6.085,12.68,-5.825), (-13.04,17.655,-12.46,17.915), (-11.9,17.655,-11.32,17.915), (-1.55,17.655,-1.29,17.915), (-1.15,17.655,-0.89,17.915), (-0.75,17.655,0.39,17.915), (0.53,17.655,0.79,17.915), (0.93,17.655,1.19,17.915), (10.96,17.655,11.54,17.915), (12.1,17.655,12.68,17.915)])
R(opendvs_pixel2x2_bot, met2, [(-13.04,-6.085,-12.46,-5.825), (-11.9,-6.085,-11.32,-5.825), (-1.55,-6.085,-1.29,-5.825), (-1.15,-6.085,-0.89,-5.825), (-0.75,-6.085,0.39,-5.825), (0.53,-6.085,0.79,-5.825), (0.93,-6.085,1.19,-5.825), (10.96,-6.085,11.54,-5.825), (12.1,-6.085,12.68,-5.825), (-11.18,-5.555,-10.92,-5.235), (10.56,-5.555,10.82,-5.235), (-7.16,-5.445,-6.9,-5.125), (6.54,-5.445,6.8,-5.125), (-9.64,-4.755,-9.32,-4.495), (8.96,-4.755,9.28,-4.495), (-12.46,-4.385,-12.04,-0.305), (11.54,-4.385,11.96,-0.305), (11.68,-0.11,11.92,3.945), (11.92,-0.11,12.1,4.205), (-12.32,-0.095,-11.9,3.945), (12.1,3.945,12.18,4.205), (-10.105,4.2,-9.825,4.525), (9.465,4.2,9.745,4.525), (11.92,4.265,12.18,4.525), (-5.575,4.83,-5.205,5.11), (4.845,4.83,5.215,5.11), (-8.29,5.46,-8.15,5.985), (-8.15,5.46,-7.92,5.74), (7.56,5.46,7.79,5.74), (7.79,5.46,7.93,5.985), (-9.96,5.785,-9.64,6.045), (9.28,5.785,9.6,6.045), (-9.64,5.845,-8.29,5.985), (7.93,5.845,9.28,5.985), (-7.925,6.045,-7.645,6.415), (7.285,6.045,7.565,6.415), (-10.385,6.675,-10.105,7.045), (9.785,6.675,10.065,7.045), (11.92,7.305,12.18,7.565), (-10.895,7.335,-10.85,7.62), (-10.85,7.335,-10.57,7.63), (-10.57,7.335,-10.525,7.62), (10.165,7.35,10.535,7.635), (11.92,7.625,12.1,11.935), (12.1,7.625,12.18,7.885), (-12.32,7.885,-11.9,11.925), (11.68,7.885,11.92,11.935), (-12.46,12.135,-12.04,16.215), (11.54,12.135,11.96,16.215), (-9.64,16.325,-9.32,16.585), (8.96,16.325,9.28,16.585), (-7.16,16.955,-6.9,17.275), (6.54,16.955,6.8,17.275), (-11.18,17.055,-10.92,17.375), (10.56,17.055,10.82,17.375), (-13.04,17.655,-12.46,17.915), (-11.9,17.655,-11.32,17.915), (-1.55,17.655,-1.29,17.915), (-1.15,17.655,-0.89,17.915), (-0.75,17.655,0.39,17.915), (0.53,17.655,0.79,17.915), (0.93,17.655,1.19,17.915), (10.96,17.655,11.54,17.915), (12.1,17.655,12.68,17.915)])
R(opendvs_pixel2x2_bot, via2, [(-10.065,4.24,-9.865,4.44), (9.505,4.24,9.705,4.44), (-5.49,4.87,-5.29,5.07), (4.93,4.87,5.13,5.07), (-8.205,5.5,-8.005,5.7), (7.645,5.5,7.845,5.7), (-7.885,6.13,-7.685,6.33), (7.325,6.13,7.525,6.33), (-10.345,6.76,-10.145,6.96), (9.825,6.76,10.025,6.96), (-10.81,7.39,-10.61,7.59), (10.25,7.39,10.45,7.59)])
A(opendvs_pixel2x2_bot, met3_pin, -12.18, 4.175, 0.29, 0.33, 1, 6, 0, 0.63)
A(opendvs_pixel2x2_bot, met3_pin, 11.53, 4.175, 0.29, 0.33, 1, 6, 0, 0.63)
R(opendvs_pixel2x2_bot, met3_pin, [(-13.02,-5.935,-12.73,-5.605), (10.69,-5.935,10.98,-5.605), (-13.02,-5.305,-12.73,-4.975), (10.69,-5.305,10.98,-4.975), (-13.02,16.805,-12.73,17.135), (10.69,16.805,10.98,17.135), (-13.02,17.435,-12.73,17.765), (10.69,17.435,10.98,17.765)])
A(opendvs_pixel2x2_bot, met3, -12.18, 4.175, 0.29, 0.33, 1, 6, 0, 0.63)
A(opendvs_pixel2x2_bot, met3, 11.53, 4.175, 0.29, 0.33, 1, 6, 0, 0.63)
R(opendvs_pixel2x2_bot, met3, [(-13.02,-5.935,10.98,-5.605), (-13.02,-5.305,10.98,-4.975), (-10.105,4.2,-9.825,4.48), (9.465,4.2,9.745,4.48), (-5.53,4.83,-5.25,5.11), (4.89,4.83,5.17,5.11), (-8.245,5.46,-7.965,5.74), (7.605,5.46,7.885,5.74), (-7.925,6.09,-7.645,6.37), (7.285,6.09,7.565,6.37), (-10.385,6.72,-10.105,7), (9.785,6.72,10.065,7), (-10.85,7.35,-10.57,7.63), (10.21,7.35,10.49,7.63), (-13.02,16.805,10.98,17.135), (-13.02,17.435,10.98,17.765)])
R(opendvs_pixel2x2_bot, met4_pin, [(-12.18,-7.205,11.82,-4.96), (-13.01,0.02,-11.35,11.81), (10.99,0.02,12.65,11.81), (-12.18,16.79,11.82,19.04)])
R(opendvs_pixel2x2_bot, met4, [(-13.02,-7.205,12.66,-4.96), (-13.01,0.02,-11.35,11.81), (10.99,0.02,12.65,11.81), (-13.02,16.79,12.66,19.04)])
R(opendvs_pixel2x2_bot, met5_pin, [(13.22,-8.775,14.51,20.605)])
R(opendvs_pixel2x2_bot, met5, [(-14.87,-8.775,-13.58,20.605), (-13.58,-8.775,13.22,-7.485), (13.22,-8.775,14.51,20.605), (-13.58,19.315,13.22,20.605)])
R(opendvs_pixel2x2_bot, psdm, [(-11.995,5.835,-11.325,5.995), (10.965,5.835,11.635,5.995)])
R(opendvs_pixel2x2_bot, boundary, [(-13.04,-6.085,12.68,17.915)])
opendvs_pixel2x2_bot.add(gdstk.Reference(contact_30_1_1, (-12.135,14.3)))
opendvs_pixel2x2_bot.add(gdstk.Reference(contact_1, (-12.75,14.625)))
opendvs_pixel2x2_bot.add(gdstk.Reference(contact_25_1_1, (-11.61,10)))
opendvs_pixel2x2_bot.add(gdstk.Reference(contact_26_1_1, (-12.75,8.21)))
opendvs_pixel2x2_bot.add(gdstk.Reference(contact_26_1_1, (-11.95,7.595), rotation=pi/2))
opendvs_pixel2x2_bot.add(gdstk.Reference(contact_25_1_1, (-11.61,1.83)))
opendvs_pixel2x2_bot.add(gdstk.Reference(contact_26_1_1, (-11.95,4.235), rotation=pi/2))
opendvs_pixel2x2_bot.add(gdstk.Reference(contact_26_1_1, (-12.75,3.615)))
opendvs_pixel2x2_bot.add(gdstk.Reference(contact_30_1_1, (-12.135,-2.47)))
opendvs_pixel2x2_bot.add(gdstk.Reference(contact_1, (-12.75,-2.795)))
opendvs_pixel2x2_bot.add(gdstk.Reference(contact_30_1_1, (11.865,14.3)))
opendvs_pixel2x2_bot.add(gdstk.Reference(contact_1, (11.25,14.625)))
opendvs_pixel2x2_bot.add(gdstk.Reference(contact_25_1_1, (12.39,10)))
opendvs_pixel2x2_bot.add(gdstk.Reference(contact_26_1_1, (11.25,8.21)))
opendvs_pixel2x2_bot.add(gdstk.Reference(contact_26_1_1, (12.05,7.595), rotation=pi/2))
opendvs_pixel2x2_bot.add(gdstk.Reference(contact_25_1_1, (12.39,1.83), x_reflection=True))
opendvs_pixel2x2_bot.add(gdstk.Reference(contact_26_1_1, (11.25,3.615)))
opendvs_pixel2x2_bot.add(gdstk.Reference(contact_26_1_1, (12.05,4.235), rotation=pi/2))
opendvs_pixel2x2_bot.add(gdstk.Reference(contact_30_1_1, (11.865,-2.47)))
opendvs_pixel2x2_bot.add(gdstk.Reference(contact_1, (11.25,-2.795), x_reflection=True))
opendvs_pixel2x2_bot.add(gdstk.Reference(opendvs_pixel, (-0.31,18.075)))
opendvs_pixel2x2_bot.add(gdstk.Reference(opendvs_pixel, (-0.05,-6.245), rotation=pi))
opendvs_pixel2x2_bot.add(gdstk.Reference(opendvs_pixel, (-0.05,18.075), rotation=pi, x_reflection=True))
opendvs_pixel2x2_bot.add(gdstk.Reference(opendvs_pixel, (-0.31,-6.245), x_reflection=True))
opendvs_pixel2x2_bot.add(gdstk.Label('vpd[2]', (5.825,-0.085), layer=68, texttype=5))
opendvs_pixel2x2_bot.add(gdstk.Label('vpd[3]', (-6.185,-0.085), layer=68, texttype=5))
opendvs_pixel2x2_bot.add(gdstk.Label('vpd[1]', (-6.185,11.915), layer=68, texttype=5))
opendvs_pixel2x2_bot.add(gdstk.Label('vpd[0]', (5.825,11.915), layer=68, texttype=5))
opendvs_pixel2x2_bot.add(gdstk.Label('VddA18', (12.39,17.785), layer=69, texttype=5))
opendvs_pixel2x2_bot.add(gdstk.Label('VddA18', (12.39,-5.955), layer=69, texttype=5))
opendvs_pixel2x2_bot.add(gdstk.Label('VddA18', (-11.61,17.785), layer=69, texttype=5))
opendvs_pixel2x2_bot.add(gdstk.Label('VddA18', (-11.61,-5.955), layer=69, texttype=5))
opendvs_pixel2x2_bot.add(gdstk.Label('rowReadOFF[1]', (-1.42,-5.955), layer=69, texttype=5))
opendvs_pixel2x2_bot.add(gdstk.Label('rowReadOFF[1]', (-1.42,17.785), layer=69, texttype=5))
opendvs_pixel2x2_bot.add(gdstk.Label('rowReadON[1]', (-1.02,-5.955), layer=69, texttype=5))
opendvs_pixel2x2_bot.add(gdstk.Label('rowReadON[1]', (-1.02,17.785), layer=69, texttype=5))
opendvs_pixel2x2_bot.add(gdstk.Label('GndD', (-0.18,-5.955), layer=69, texttype=5))
opendvs_pixel2x2_bot.add(gdstk.Label('GndD', (-0.18,17.785), layer=69, texttype=5))
opendvs_pixel2x2_bot.add(gdstk.Label('rowReadOFF[0]', (1.06,-5.955), layer=69, texttype=5))
opendvs_pixel2x2_bot.add(gdstk.Label('rowReadOFF[0]', (1.06,17.785), layer=69, texttype=5))
opendvs_pixel2x2_bot.add(gdstk.Label('rowReadON[0]', (0.66,-5.955), layer=69, texttype=5))
opendvs_pixel2x2_bot.add(gdstk.Label('rowReadON[0]', (0.66,17.785), layer=69, texttype=5))
opendvs_pixel2x2_bot.add(gdstk.Label('GndA', (11.25,-5.955), layer=69, texttype=5))
opendvs_pixel2x2_bot.add(gdstk.Label('GndA', (11.25,17.785), layer=69, texttype=5))
opendvs_pixel2x2_bot.add(gdstk.Label('GndA', (-12.75,-5.955), layer=69, texttype=5))
opendvs_pixel2x2_bot.add(gdstk.Label('GndA', (-12.75,17.785), layer=69, texttype=5))
opendvs_pixel2x2_bot.add(gdstk.Label('DiffBn', (10.75,-6.085), layer=69, texttype=5))
opendvs_pixel2x2_bot.add(gdstk.Label('DiffBn', (-11.11,-6.085), layer=69, texttype=5))
opendvs_pixel2x2_bot.add(gdstk.Label('GndA', (13.865,5.915), layer=72, texttype=5))
opendvs_pixel2x2_bot.add(gdstk.Label('VddA18', (11.82,5.915), layer=71, texttype=5))
opendvs_pixel2x2_bot.add(gdstk.Label('VddA18', (-12.18,5.915), layer=71, texttype=5))
opendvs_pixel2x2_bot.add(gdstk.Label('VddA18', (-0.18,17.915), layer=71, texttype=5))
opendvs_pixel2x2_bot.add(gdstk.Label('VddA18', (-0.18,-6.082), layer=71, texttype=5))
opendvs_pixel2x2_bot.add(gdstk.Label('RefrBp', (-12.035,4.97), layer=70, texttype=5))
opendvs_pixel2x2_bot.add(gdstk.Label('RefrBp', (11.675,4.97), layer=70, texttype=5))
opendvs_pixel2x2_bot.add(gdstk.Label('PrBp', (-12.035,5.6), layer=70, texttype=5))
opendvs_pixel2x2_bot.add(gdstk.Label('PrBp', (11.675,5.6), layer=70, texttype=5))
opendvs_pixel2x2_bot.add(gdstk.Label('PrSFBp', (-12.035,6.23), layer=70, texttype=5))
opendvs_pixel2x2_bot.add(gdstk.Label('PrSFBp', (11.675,6.23), layer=70, texttype=5))
opendvs_pixel2x2_bot.add(gdstk.Label('readLine[0]', (10.835,17.6), layer=70, texttype=5))
opendvs_pixel2x2_bot.add(gdstk.Label('readLine[0]', (-12.875,17.6), layer=70, texttype=5))
opendvs_pixel2x2_bot.add(gdstk.Label('pixRst[0]', (10.835,16.97), layer=70, texttype=5))
opendvs_pixel2x2_bot.add(gdstk.Label('pixRst[0]', (-12.875,16.97), layer=70, texttype=5))
opendvs_pixel2x2_bot.add(gdstk.Label('pixRst[1]', (-12.875,-5.14), layer=70, texttype=5))
opendvs_pixel2x2_bot.add(gdstk.Label('pixRst[1]', (10.835,-5.14), layer=70, texttype=5))
opendvs_pixel2x2_bot.add(gdstk.Label('readLine[1]', (-12.875,-5.77), layer=70, texttype=5))
opendvs_pixel2x2_bot.add(gdstk.Label('readLine[1]', (10.835,-5.77), layer=70, texttype=5))
opendvs_pixel2x2_bot.add(gdstk.Label('DiffBn', (-12.035,7.49), layer=70, texttype=5))
opendvs_pixel2x2_bot.add(gdstk.Label('DiffBn', (11.675,7.49), layer=70, texttype=5))
opendvs_pixel2x2_bot.add(gdstk.Label('OffBn', (-12.035,6.86), layer=70, texttype=5))
opendvs_pixel2x2_bot.add(gdstk.Label('OffBn', (11.675,6.86), layer=70, texttype=5))
opendvs_pixel2x2_bot.add(gdstk.Label('OnBn', (-12.035,4.34), layer=70, texttype=5))
opendvs_pixel2x2_bot.add(gdstk.Label('OnBn', (11.675,4.34), layer=70, texttype=5))

lib.write_gds('openDVS_pixel2x2_bot.gds')
